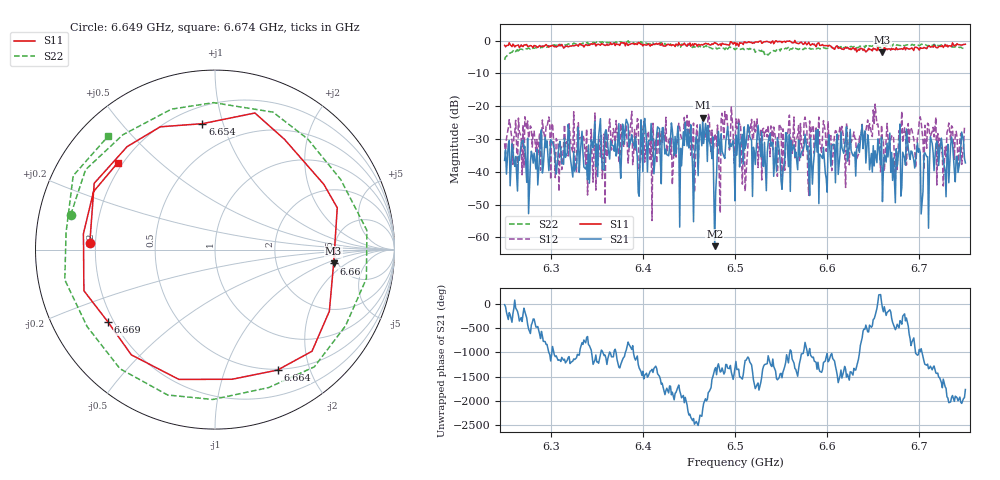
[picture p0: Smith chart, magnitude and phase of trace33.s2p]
# Hz S RI R 50
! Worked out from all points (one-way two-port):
!   401 points, 6.25 GHz to 6.75 GHz, reference 50 ohm
!   highest |S21| = -23.45 dB at 6.465 GHz (marker M1); lowest = -62.7 dB at 6.478 GHz (marker M2)
!   lowest |S11| = -3.5 dB at 6.66 GHz (marker M3), VSWR 4.98, Z = 230 - j63.9 ohm
!   |S11| at or under -10 dB: nowhere
!   |S22| runs from -5.9 to 0.0 dB; largest |S21 - S12| = 0.11
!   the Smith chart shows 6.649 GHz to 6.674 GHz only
!   S11 on the Smith chart (normalised r, x): 6.649 GHz: 0.18, +0.02; 6.654 GHz: 0.31, +0.86; 6.66 GHz: 4.61, -1.28; 6.664 GHz: 0.49, -1.53; 6.669 GHz: 0.18, -0.30; 6.674 GHz: 0.18, +0.37
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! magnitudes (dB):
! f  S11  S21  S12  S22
! 6.25 GHz  -1.4  -36.5  -31.3  -5.9
! 6.334 GHz  -1.4  -27.6  -29.8  -0.9
! 6.418 GHz  -0.7  -26.8  -34.8  -1.3
! 6.446 GHz  -1.1  -24.8  -29.1  -1.4
! 6.458 GHz  -1.0  -29.0  -28.2  -1.8
! 6.465 GHz  -1.3  -23.5  -31.4  -1.7
! 6.478 GHz  -0.6  -62.7  -28.3  -2.3
! 6.484 GHz  -1.0  -34.6  -52.5  -2.3
! 6.5 GHz  -0.6  -48.8  -31.9  -2.7
! 6.504 GHz  -1.7  -25.2  -23.5  -2.5
! 6.51 GHz  -0.4  -26.3  -26.9  -2.8
! 6.519 GHz  -0.8  -47.5  -30.3  -2.5
! 6.584 GHz  -0.9  -43.7  -25.8  -2.5
! 6.639 GHz  -3.0  -32.9  -32.3  -1.6
! 6.649 GHz  -3.1  -40.0  -29.2  -1.7
! 6.654 GHz  -3.0  -37.2  -25.6  -1.7
! 6.66 GHz  -3.5  -49.1  -30.6  -1.3
! 6.664 GHz  -2.4  -37.0  -30.1  -1.7
! 6.668 GHz  -2.5  -28.2  -31.9  -1.4
! 6.669 GHz  -2.9  -40.1  -30.1  -1.6
! 6.674 GHz  -2.8  -49.4  -42.2  -1.2
! 6.75 GHz  -1.1  -37.2  -26.2  -2.1
